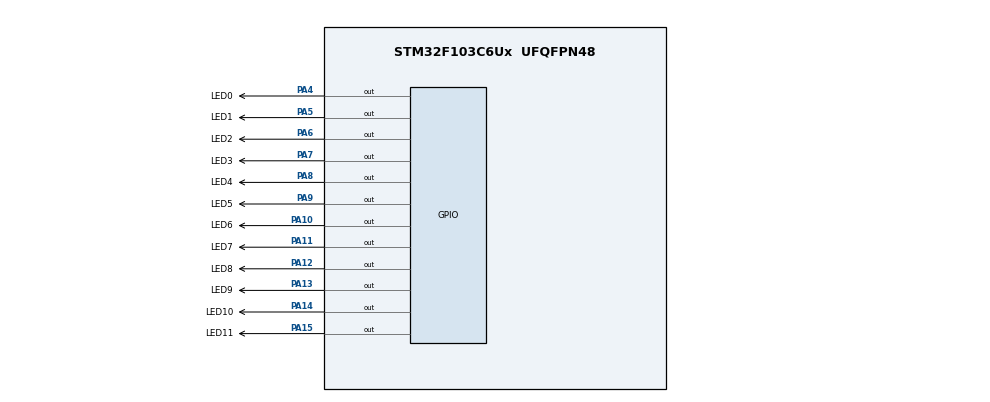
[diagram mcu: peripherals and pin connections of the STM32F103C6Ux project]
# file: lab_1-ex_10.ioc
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Mcu.Family=STM32F1
Mcu.Name=STM32F103C6Ux
Mcu.Package=UFQFPN48
NVIC.PriorityGroup=NVIC_PRIORITYGROUP_4
PA10.GPIO_Label=LED6
PA10.Signal=GPIO_Output
PA11.GPIO_Label=LED7
PA11.Signal=GPIO_Output
PA12.GPIO_Label=LED8
PA12.Signal=GPIO_Output
PA13.GPIO_Label=LED9
PA13.Signal=GPIO_Output
PA14.GPIO_Label=LED10
PA14.Signal=GPIO_Output
PA15.GPIO_Label=LED11
PA15.Signal=GPIO_Output
PA4.GPIO_Label=LED0
PA4.Signal=GPIO_Output
PA5.GPIO_Label=LED1
PA5.Signal=GPIO_Output
PA6.GPIO_Label=LED2
PA6.Signal=GPIO_Output
PA7.GPIO_Label=LED3
PA7.Signal=GPIO_Output
PA8.GPIO_Label=LED4
PA8.Signal=GPIO_Output
PA9.GPIO_Label=LED5
PA9.Signal=GPIO_Output
ProjectManager.HeapSize=0x200
ProjectManager.StackSize=0x400
ProjectManager.TargetToolchain=STM32CubeIDE
RCC.APB1Freq_Value=8000000
RCC.APB2Freq_Value=8000000
VP_SYS_VS_ND.Mode=No_Debug
board=custom

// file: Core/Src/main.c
/* USER CODE BEGIN Header */
/**
  ******************************************************************************
  * @file           : main.c
  * @brief          : Main program body
  ******************************************************************************
  * @attention
  *
  * <h2><center>&copy; Copyright (c) 2022 STMicroelectronics.
  * All rights reserved.</center></h2>
  *
  * This software component is licensed by ST under BSD 3-Clause license,
  * the "License"; You may not use this file except in compliance with the
  * License. You may obtain a copy of the License at:
  *                        opensource.org/licenses/BSD-3-Clause
  *
  ******************************************************************************
  */
/* USER CODE END Header */
#include "main.h"

void SystemClock_Config(void);
static void MX_GPIO_Init(void);

int main(void)
{

  /* MCU Configuration--------------------------------------------------------*/

  /* Reset of all peripherals, Initializes the Flash interface and the Systick. */
  HAL_Init();

  /* USER CODE BEGIN Init */
  	 int hour_input = 21;
  	 int minute_input = 53;
  	 int second_input = 59;
  	 int counter = 0;
  	 //Xu ly de hien thi dung tren LED.
  	 int hour;
  	 if(hour_input >= 12) {
  		 	 hour = hour_input - 12;
  	 }
  	 else {
  		 hour = hour_input;
  	 }
  	 int minute = minute_input/5;
  	 int second = second_input/5;

  /* USER CODE END Init */

  /* Configure the system clock */
  SystemClock_Config();

  /* Initialize all configured peripherals */
  MX_GPIO_Init();

  /* Infinite loop */
  /* USER CODE BEGIN WHILE */
  while (1)
  {
	  //So sanh cac gia tri hour, minute, second voi counter. Gia tri nao khac voi ba thong so hour, minute, second thi
	  // LED tuong ung voi gia tri do se tat.
	  if(counter != hour && counter != minute && counter != second){
		  HAL_GPIO_WritePin(LED0_GPIO_Port, LED0_Pin, GPIO_PIN_SET);
	  }
	  counter++;
	  if(counter != hour && counter != minute && counter != second){
		  HAL_GPIO_WritePin(LED1_GPIO_Port, LED1_Pin, GPIO_PIN_SET);

	  }
	  counter++;
	  if(counter != hour && counter != minute && counter != second){
		  HAL_GPIO_WritePin(LED2_GPIO_Port, LED2_Pin, GPIO_PIN_SET);

	  }
	  counter++;
	  if(counter != hour && counter != minute && counter != second){
		  HAL_GPIO_WritePin(LED3_GPIO_Port, LED3_Pin, GPIO_PIN_SET);

	  }
	  counter++;
	  if(counter != hour && counter != minute && counter != second){
		  HAL_GPIO_WritePin(LED4_GPIO_Port, LED4_Pin, GPIO_PIN_SET);

	  }
	  counter++;
	  if(counter != hour && counter != minute && counter != second){
		  HAL_GPIO_WritePin(LED5_GPIO_Port, LED5_Pin, GPIO_PIN_SET);

	  }
	  counter++;
	  if(counter != hour && counter != minute && counter != second){
		  HAL_GPIO_WritePin(LED6_GPIO_Port, LED6_Pin, GPIO_PIN_SET);

	  }
	  counter++;
	  if(counter != hour && counter != minute && counter != second){
		  HAL_GPIO_WritePin(LED7_GPIO_Port, LED7_Pin, GPIO_PIN_SET);

	  }
	  counter++;
	  if(counter != hour && counter != minute && counter != second){
		  HAL_GPIO_WritePin(LED8_GPIO_Port, LED8_Pin, GPIO_PIN_SET);

	  }
	  counter++;
	  if(counter != hour && counter != minute && counter != second){
		  HAL_GPIO_WritePin(LED9_GPIO_Port, LED9_Pin, GPIO_PIN_SET);

	  }
	  counter++;
	  if(counter != hour && counter != minute && counter != second){
		  HAL_GPIO_WritePin(LED10_GPIO_Port, LED10_Pin, GPIO_PIN_SET);

	  }
	  counter++;
	  if(counter != hour && counter != minute && counter != second){
		  HAL_GPIO_WritePin(LED11_GPIO_Port, LED11_Pin, GPIO_PIN_SET);
	  }
	  counter = 0;

    /* USER CODE END WHILE */

  }
}

void SystemClock_Config(void)
{
  RCC_OscInitTypeDef RCC_OscInitStruct = {0};
  RCC_ClkInitTypeDef RCC_ClkInitStruct = {0};

  /** Initializes the RCC Oscillators according to the specified parameters
  * in the RCC_OscInitTypeDef structure.
  */
  RCC_OscInitStruct.OscillatorType = RCC_OSCILLATORTYPE_HSI;
  RCC_OscInitStruct.HSIState = RCC_HSI_ON;
  RCC_OscInitStruct.HSICalibrationValue = RCC_HSICALIBRATION_DEFAULT;
  RCC_OscInitStruct.PLL.PLLState = RCC_PLL_NONE;
  if (HAL_RCC_OscConfig(&RCC_OscInitStruct) != HAL_OK)
  {
    Error_Handler();
  }
  /** Initializes the CPU, AHB and APB buses clocks
  */
  RCC_ClkInitStruct.ClockType = RCC_CLOCKTYPE_HCLK|RCC_CLOCKTYPE_SYSCLK
                              |RCC_CLOCKTYPE_PCLK1|RCC_CLOCKTYPE_PCLK2;
  RCC_ClkInitStruct.SYSCLKSource = RCC_SYSCLKSOURCE_HSI;
  RCC_ClkInitStruct.AHBCLKDivider = RCC_SYSCLK_DIV1;
  RCC_ClkInitStruct.APB1CLKDivider = RCC_HCLK_DIV1;
  RCC_ClkInitStruct.APB2CLKDivider = RCC_HCLK_DIV1;

  if (HAL_RCC_ClockConfig(&RCC_ClkInitStruct, FLASH_LATENCY_0) != HAL_OK)
  {
    Error_Handler();
  }
}

static void MX_GPIO_Init(void)
{
  GPIO_InitTypeDef GPIO_InitStruct = {0};

  /* GPIO Ports Clock Enable */
  __HAL_RCC_GPIOA_CLK_ENABLE();

  /*Configure GPIO pin Output Level */
  HAL_GPIO_WritePin(GPIOA, LED0_Pin|LED1_Pin|LED2_Pin|LED3_Pin
                          |LED4_Pin|LED5_Pin|LED6_Pin|LED7_Pin
                          |LED8_Pin|LED9_Pin|LED10_Pin|LED11_Pin, GPIO_PIN_RESET);

  /*Configure GPIO pins : LED0_Pin LED1_Pin LED2_Pin LED3_Pin
                           LED4_Pin LED5_Pin LED6_Pin LED7_Pin
                           LED8_Pin LED9_Pin LED10_Pin LED11_Pin */
  GPIO_InitStruct.Pin = LED0_Pin|LED1_Pin|LED2_Pin|LED3_Pin
                          |LED4_Pin|LED5_Pin|LED6_Pin|LED7_Pin
                          |LED8_Pin|LED9_Pin|LED10_Pin|LED11_Pin;
  GPIO_InitStruct.Mode = GPIO_MODE_OUTPUT_PP;
  GPIO_InitStruct.Pull = GPIO_NOPULL;
  GPIO_InitStruct.Speed = GPIO_SPEED_FREQ_LOW;
  HAL_GPIO_Init(GPIOA, &GPIO_InitStruct);

}

void Error_Handler(void)
{
  __disable_irq();
  while (1)
  {
  }
}

/************************ (C) COPYRIGHT STMicroelectronics *****END OF FILE****/
